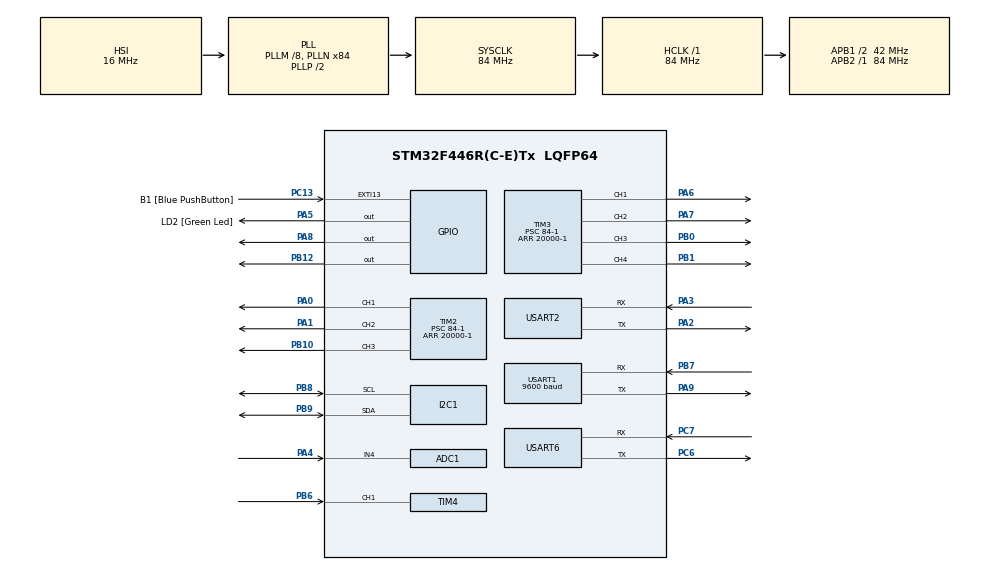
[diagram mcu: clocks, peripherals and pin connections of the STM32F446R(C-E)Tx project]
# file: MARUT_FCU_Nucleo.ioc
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ADC1.Channel-0\#ChannelRegularConversion=ADC_CHANNEL_4
ADC1.NbrOfConversionFlag=1
ADC1.Rank-0\#ChannelRegularConversion=1
ADC1.SamplingTime-0\#ChannelRegularConversion=ADC_SAMPLETIME_3CYCLES
ADC1.master=1
FREERTOS.BinarySemaphores01=uart_sem,Dynamic,NULL,Available
FREERTOS.Tasks01=defaultTask,24,1024,servo_mapping,Default,NULL,Static,defaultTaskBuffer,defaultTaskControlBlock;telem_task,24,1024,telemetry_task,Default,NULL,Static,myTask02Buffer,myTask02ControlBlock;rc_input,24,1024,arm_disarm,Default,NULL,Dynamic,NULL,NULL
FREERTOS.configUSE_STATS_FORMATTING_FUNCTIONS=1
Mcu.Family=STM32F4
Mcu.Name=STM32F446R(C-E)Tx
Mcu.Package=LQFP64
NVIC.ADC_IRQn=true\:5\:0\:false\:false\:true\:true\:true\:true\:true
NVIC.PriorityGroup=NVIC_PRIORITYGROUP_4
NVIC.TIM4_IRQn=true\:5\:0\:false\:false\:true\:true\:true\:true\:true
NVIC.TIM8_TRG_COM_TIM14_IRQn=true\:15\:0\:false\:false\:true\:false\:false\:true\:true
NVIC.TimeBase=TIM8_TRG_COM_TIM14_IRQn
NVIC.TimeBaseIP=TIM14
NVIC.USART1_IRQn=true\:5\:0\:false\:false\:true\:true\:true\:true\:true
PA0-WKUP.Signal=S_TIM2_CH1_ETR
PA1.Signal=S_TIM2_CH2
PA13.GPIO_Label=TMS
PA13.Mode=Serial_Wire
PA13.Signal=SYS_JTMS-SWDIO
PA14.GPIO_Label=TCK
PA14.Mode=Serial_Wire
PA14.Signal=SYS_JTCK-SWCLK
PA2.Mode=Asynchronous
PA2.Signal=USART2_TX
PA3.Mode=Asynchronous
PA3.Signal=USART2_RX
PA4.Signal=ADCx_IN4
PA5.GPIO_Label=LD2 [Green Led]
PA5.Signal=GPIO_Output
PA6.Signal=S_TIM3_CH1
PA7.Signal=S_TIM3_CH2
PA8.Signal=GPIO_Output
PA9.Mode=Asynchronous
PA9.Signal=USART1_TX
PB0.Signal=S_TIM3_CH3
PB1.Signal=S_TIM3_CH4
PB10.Signal=S_TIM2_CH3
PB12.Signal=GPIO_Output
PB3.GPIO_Label=SWO
PB3.Signal=SYS_JTDO-SWO
PB6.GPIO_PuPd=GPIO_PULLDOWN
PB6.GPIO_Speed=GPIO_SPEED_FREQ_HIGH
PB6.Signal=S_TIM4_CH1
PB7.Mode=Asynchronous
PB7.Signal=USART1_RX
PB8.Mode=I2C
PB8.Signal=I2C1_SCL
PB9.Mode=I2C
PB9.Signal=I2C1_SDA
PC13.GPIO_Label=B1 [Blue PushButton]
PC13.GPIO_ModeDefaultEXTI=GPIO_MODE_IT_FALLING
PC13.Signal=GPXTI13
PC14-OSC32_IN.Mode=LSE-External-Oscillator
PC14-OSC32_IN.Signal=RCC_OSC32_IN
PC15-OSC32_OUT.Mode=LSE-External-Oscillator
PC15-OSC32_OUT.Signal=RCC_OSC32_OUT
PC6.Mode=Asynchronous
PC6.Signal=USART6_TX
PC7.Mode=Asynchronous
PC7.Signal=USART6_RX
PH0-OSC_IN.Mode=HSE-External-Oscillator
PH0-OSC_IN.Signal=RCC_OSC_IN
PH1-OSC_OUT.Mode=HSE-External-Oscillator
PH1-OSC_OUT.Signal=RCC_OSC_OUT
ProjectManager.HeapSize=0x200
ProjectManager.StackSize=0x400
ProjectManager.TargetToolchain=STM32CubeIDE
RCC.48MHZClocksFreq_Value=84000000
RCC.AHBFreq_Value=84000000
RCC.APB1CLKDivider=RCC_HCLK_DIV2
RCC.APB1Freq_Value=42000000
RCC.APB1TimFreq_Value=84000000
RCC.APB2Freq_Value=84000000
RCC.APB2TimFreq_Value=84000000
RCC.CortexFreq_Value=84000000
RCC.FLatency-AdvancedSettings=FLASH_LATENCY_2
RCC.HCLKFreq_Value=84000000
RCC.HSE_VALUE=8000000
RCC.HSI_VALUE=16000000
RCC.PLLM=8
RCC.PLLN=84
RCC.SYSCLKFreq_VALUE=84000000
RCC.SYSCLKSource=RCC_SYSCLKSOURCE_PLLCLK
RCC.USBFreq_Value=84000000
RCC.VCOOutputFreq_Value=168000000
SH.ADCx_IN4.0=ADC1_IN4,IN4
SH.S_TIM2_CH1_ETR.0=TIM2_CH1,PWM Generation1 CH1
SH.S_TIM2_CH2.0=TIM2_CH2,PWM Generation2 CH2
SH.S_TIM2_CH3.0=TIM2_CH3,PWM Generation3 CH3
SH.S_TIM3_CH1.0=TIM3_CH1,PWM Generation1 CH1
SH.S_TIM3_CH2.0=TIM3_CH2,PWM Generation2 CH2
SH.S_TIM3_CH3.0=TIM3_CH3,PWM Generation3 CH3
SH.S_TIM3_CH4.0=TIM3_CH4,PWM Generation4 CH4
SH.S_TIM4_CH1.0=TIM4_CH1,Input_Capture1_from_TI1
TIM2.Channel-PWM\ Generation1\ CH1=TIM_CHANNEL_1
TIM2.Channel-PWM\ Generation2\ CH2=TIM_CHANNEL_2
TIM2.Channel-PWM\ Generation3\ CH3=TIM_CHANNEL_3
TIM2.Channel-PWM\ Generation4\ No\ Output=TIM_CHANNEL_4
TIM2.Period=20000-1
TIM2.Prescaler=84-1
TIM3.Channel-PWM\ Generation1\ CH1=TIM_CHANNEL_1
TIM3.Channel-PWM\ Generation2\ CH2=TIM_CHANNEL_2
TIM3.Channel-PWM\ Generation3\ CH3=TIM_CHANNEL_3
TIM3.Channel-PWM\ Generation4\ CH4=TIM_CHANNEL_4
TIM3.Period=20000-1
TIM3.Prescaler=84-1
TIM4.Channel-Input_Capture1_from_TI1=TIM_CHANNEL_1
TIM4.ICFilter_CH1=5
TIM4.Prescaler=84-1
USART1.BaudRate=9600
USART1.VirtualMode=VM_ASYNC
USART2.VirtualMode=VM_ASYNC
USART6.VirtualMode=VM_ASYNC
VP_ADC1_TempSens_Input.Mode=IN-TempSens
VP_FREERTOS_VS_CMSIS_V2.Mode=CMSIS_V2
VP_SYS_VS_tim14.Mode=TIM14
VP_TIM2_VS_ClockSourceINT.Mode=Internal
VP_TIM2_VS_no_output4.Mode=PWM Generation4 No Output
VP_TIM3_VS_ClockSourceINT.Mode=Internal
VP_TIM4_VS_ClockSourceINT.Mode=Internal
board=NUCLEO-F446RE

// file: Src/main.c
/* USER CODE BEGIN Header */
/**
 ******************************************************************************
 * @file           : main.c
 * @brief          : Main program body
 ******************************************************************************
 * @attention
 *
 * Copyright (c) 2025 STMicroelectronics.
 * All rights reserved.
 *
 * This software is licensed under terms that can be found in the LICENSE file
 * in the root directory of this software component.
 * If no LICENSE file comes with this software, it is provided AS-IS.
 *
 ******************************************************************************
 */
/* USER CODE END Header */
#include "main.h"
#include "cmsis_os.h"

/* USER CODE BEGIN Includes */
#include "mpu6050_port.h"
#include "qmcr5883l.h"
#include "bmp280.h"
#include <stdio.h>
#include <string.h>
#include <math.h>
#include "gps_parser.h"
#include "mav_messages.h"

/* USER CODE END Includes */

typedef StaticTask_t osStaticThreadDef_t;

/* USER CODE BEGIN PD */
#define PUTCHAR_PROTOTYPE int __io_putchar(int ch)

/* USER CODE END PD */

ADC_HandleTypeDef hadc1;

I2C_HandleTypeDef hi2c1;

TIM_HandleTypeDef htim2;
TIM_HandleTypeDef htim3;
TIM_HandleTypeDef htim4;

UART_HandleTypeDef huart1;
UART_HandleTypeDef huart2;
UART_HandleTypeDef huart6;

/* Definitions for defaultTask */
osThreadId_t defaultTaskHandle;
uint32_t defaultTaskBuffer[ 1024 ];
osStaticThreadDef_t defaultTaskControlBlock;
const osThreadAttr_t defaultTask_attributes = {
  .name = "defaultTask",
  .cb_mem = &defaultTaskControlBlock,
  .cb_size = sizeof(defaultTaskControlBlock),
  .stack_mem = &defaultTaskBuffer[0],
  .stack_size = sizeof(defaultTaskBuffer),
  .priority = (osPriority_t) osPriorityNormal,
};
/* Definitions for telem_task */
osThreadId_t telem_taskHandle;
uint32_t myTask02Buffer[ 1024 ];
osStaticThreadDef_t myTask02ControlBlock;
const osThreadAttr_t telem_task_attributes = {
  .name = "telem_task",
  .cb_mem = &myTask02ControlBlock,
  .cb_size = sizeof(myTask02ControlBlock),
  .stack_mem = &myTask02Buffer[0],
  .stack_size = sizeof(myTask02Buffer),
  .priority = (osPriority_t) osPriorityNormal,
};
/* Definitions for rc_input */
osThreadId_t rc_inputHandle;
const osThreadAttr_t rc_input_attributes = {
  .name = "rc_input",
  .stack_size = 1024 * 4,
  .priority = (osPriority_t) osPriorityNormal,
};
/* Definitions for uart_sem */
osSemaphoreId_t uart_semHandle;
const osSemaphoreAttr_t uart_sem_attributes = {
  .name = "uart_sem"
};
/* USER CODE BEGIN PV */

extern uint8_t rxBuffer[128];
extern uint8_t rxIndex;
extern uint8_t rxData;
extern float nmeaLong;
extern float nmeaLat;
extern float utcTime;
extern char posStatus;
extern char northsouth;
extern char eastwest;
extern float decimalLong;
extern float decimalLat;
extern float gpsSpeed;
extern float course;
extern int numSats;
extern float mslAlt;
extern int gpsQuality;
extern int has_fix;
extern int fix_type;
extern float hdop;
extern uint32_t last_led_toggle;
extern char unit;
extern uint32_t gps_send_counter;

volatile uint16_t ppm_live_channels[8];
volatile uint16_t ppm_ready_channels[8];
uint16_t display_channels[8];
volatile uint8_t pulse = 1;

volatile uint8_t ppm_new_data_flag = 0;
volatile uint32_t last_capture = 0;

char msg[100];

volatile uint32_t ICValue_1 = 0;
volatile uint32_t frequency_1 = 0;
volatile float duty_1 = 0;

volatile uint32_t ICValue_2 = 0;
volatile uint32_t frequency_2 = 0;
volatile float duty_2 = 0;

volatile uint32_t ICValue_3 = 0;
volatile uint32_t frequency_3 = 0;
volatile float duty_3 = 0;

volatile uint32_t ICValue_4 = 0;
volatile uint32_t frequency_4 = 0;
volatile float duty_4 = 0;

volatile uint32_t ICValue_5 = 0;
volatile uint32_t frequency_5 = 0;
volatile float duty_5 = 0;

volatile uint32_t ICValue_6 = 0;
volatile uint32_t frequency_6 = 0;
volatile float duty_6 = 0;

volatile float pulse_width_us_1;
volatile float pulse_width_us_2;
volatile float pulse_width_us_3;
volatile float pulse_width_us_4;
volatile float pulse_width_us_5;
volatile float pulse_width_us_6;

volatile float batt_value = 0;
volatile float adc_value = 0;
volatile float internal_temp = 0;
volatile float v_out = 0;

int disarm_flag;
int arm_flag;

/* USER CODE END PV */

void SystemClock_Config(void);
static void MX_GPIO_Init(void);
static void MX_I2C1_Init(void);
static void MX_TIM4_Init(void);
static void MX_USART1_UART_Init(void);
static void MX_USART6_UART_Init(void);
static void MX_TIM2_Init(void);
static void MX_TIM3_Init(void);
static void MX_USART2_UART_Init(void);
static void MX_ADC1_Init(void);
void servo_mapping(void *argument);
void telemetry_task(void *argument);
void arm_disarm(void *argument);

/* USER CODE BEGIN 0 */

PUTCHAR_PROTOTYPE {
	/* Place your implementation of fputc here */
	/* e.g. write a character to the USART1 and Loop until the end of transmission */
	HAL_UART_Transmit(&huart2, (uint8_t*) &ch, 1, 0xFFFF);

	return ch;
}

void HAL_TIM_IC_CaptureCallback(TIM_HandleTypeDef *htim) {

	if (htim->Instance == TIM4 && htim->Channel == HAL_TIM_ACTIVE_CHANNEL_1) {
		uint32_t current_capture = HAL_TIM_ReadCapturedValue(htim,
		TIM_CHANNEL_1);
		uint16_t pulse_width;

		if (current_capture > last_capture) {
			pulse_width = current_capture - last_capture;
		} else {
			pulse_width = (65535 - last_capture) + current_capture;
		}

		if (pulse_width > 3000) {

			memcpy((void*) ppm_ready_channels, (void*) ppm_live_channels,
					sizeof(ppm_live_channels));
			ppm_new_data_flag = 1;

			pulse = 1;
		}

		else {
			switch (pulse) {
			case 1:
				ppm_live_channels[0] = pulse_width;
				pulse++;
				break;
			case 2:
				ppm_live_channels[1] = pulse_width;
				pulse++;
				break;
			case 3:
				ppm_live_channels[2] = pulse_width;
				pulse++;
				break;
			case 4:
				ppm_live_channels[3] = pulse_width;
				pulse++;
				break;
			case 5:
				ppm_live_channels[4] = pulse_width;
				pulse++;
				break;
			case 6:
				ppm_live_channels[5] = pulse_width;
				pulse++;
				break;
			default:

				pulse++;
				break;
			}
		}
		last_capture = current_capture;
	}

}

void HAL_UART_RxCpltCallback(UART_HandleTypeDef *huart) {
	if (huart->Instance == USART1) {

		if (rxData != '\n' && rxIndex < sizeof(rxBuffer)) {
			rxBuffer[rxIndex++] = rxData;
		} else {
			if (gpsValidate((char*) rxBuffer))
				gpsParse((char*) rxBuffer);
			rxIndex = 0;
			memset(rxBuffer, 0, sizeof(rxBuffer));
		}
		HAL_GPIO_TogglePin(GPIOA, GPIO_PIN_5);
		HAL_UART_Receive_IT(&huart1, &rxData, 1);

	}
}

void HAL_ADC_ConvCpltCallback(ADC_HandleTypeDef *hadc) {
	adc_value = HAL_ADC_GetValue(&hadc1);
	v_out = (adc_value * 3.3f) / 4096;
	batt_value = v_out / (7500.0f / (30000.0f + 7500.0f));
	//printf("Itr triggered\n");
	HAL_ADC_Start_IT(&hadc1);

}

uint32_t mapRCtoMotor(uint16_t rcValue) {
	if (rcValue > 2000) {
		rcValue = 2000;
	}
	if (rcValue < 1000) {
		rcValue = 1000;
	}
	// used simple ratio vala logic (y-0/63000-0 = x-1000 / 2000-1000)
	uint32_t motorValue = (uint32_t) (rcValue - 1000) * 180 / 1000;
	return motorValue;
}

void setServoAngle(uint32_t angle, int channel) {
	if (angle > 180)
		angle = 180;

	uint32_t minPulseWidth = 500;   // 0.5 ms
	uint32_t maxPulseWidth = 2500;  // 2.5 ms
	uint32_t pulse = ((angle * (maxPulseWidth - minPulseWidth)) / 180)
			+ minPulseWidth;

	if (channel == 1) {
		__HAL_TIM_SET_COMPARE(&htim2, TIM_CHANNEL_1, pulse);
	} else if (channel == 2) {
		__HAL_TIM_SET_COMPARE(&htim2, TIM_CHANNEL_2, pulse);
	} else if (channel == 3) {
		__HAL_TIM_SET_COMPARE(&htim2, TIM_CHANNEL_3, pulse);
	} else if (channel == 4) {
		__HAL_TIM_SET_COMPARE(&htim3, TIM_CHANNEL_1, pulse);
	} else if (channel == 5) {
		__HAL_TIM_SET_COMPARE(&htim3, TIM_CHANNEL_2, pulse);
	} else if (channel == 6) {
		__HAL_TIM_SET_COMPARE(&htim3, TIM_CHANNEL_3, pulse);
	} else if (channel == 7) {
		__HAL_TIM_SET_COMPARE(&htim3, TIM_CHANNEL_4, pulse);
	}

}

/* USER CODE END 0 */

int main(void)
{

  /* MCU Configuration--------------------------------------------------------*/

  /* Reset of all peripherals, Initializes the Flash interface and the Systick. */
  HAL_Init();

  /* Configure the system clock */
  SystemClock_Config();

  /* Initialize all configured peripherals */
  MX_GPIO_Init();
  MX_I2C1_Init();
  MX_TIM4_Init();
  MX_USART1_UART_Init();
  MX_USART6_UART_Init();
  MX_TIM2_Init();
  MX_TIM3_Init();
  MX_USART2_UART_Init();
  MX_ADC1_Init();

  /* Init scheduler */
  osKernelInitialize();

  /* Create the semaphores(s) */
  /* creation of uart_sem */
  uart_semHandle = osSemaphoreNew(1, 1, &uart_sem_attributes);

  /* Create the thread(s) */
  /* creation of defaultTask */
  defaultTaskHandle = osThreadNew(servo_mapping, NULL, &defaultTask_attributes);

  /* creation of telem_task */
  telem_taskHandle = osThreadNew(telemetry_task, NULL, &telem_task_attributes);

  /* creation of rc_input */
  rc_inputHandle = osThreadNew(arm_disarm, NULL, &rc_input_attributes);

  /* Start scheduler */
  osKernelStart();

  /* We should never get here as control is now taken by the scheduler */

  /* Infinite loop */
	while (1) {

	}
}

void SystemClock_Config(void)
{
  RCC_OscInitTypeDef RCC_OscInitStruct = {0};
  RCC_ClkInitTypeDef RCC_ClkInitStruct = {0};

  /** Configure the main internal regulator output voltage
  */
  __HAL_RCC_PWR_CLK_ENABLE();
  __HAL_PWR_VOLTAGESCALING_CONFIG(PWR_REGULATOR_VOLTAGE_SCALE3);

  /** Initializes the RCC Oscillators according to the specified parameters
  * in the RCC_OscInitTypeDef structure.
  */
  RCC_OscInitStruct.OscillatorType = RCC_OSCILLATORTYPE_HSI;
  RCC_OscInitStruct.HSIState = RCC_HSI_ON;
  RCC_OscInitStruct.HSICalibrationValue = RCC_HSICALIBRATION_DEFAULT;
  RCC_OscInitStruct.PLL.PLLState = RCC_PLL_ON;
  RCC_OscInitStruct.PLL.PLLSource = RCC_PLLSOURCE_HSI;
  RCC_OscInitStruct.PLL.PLLM = 8;
  RCC_OscInitStruct.PLL.PLLN = 84;
  RCC_OscInitStruct.PLL.PLLP = RCC_PLLP_DIV2;
  RCC_OscInitStruct.PLL.PLLQ = 2;
  RCC_OscInitStruct.PLL.PLLR = 2;
  if (HAL_RCC_OscConfig(&RCC_OscInitStruct) != HAL_OK)
  {
    Error_Handler();
  }

  /** Initializes the CPU, AHB and APB buses clocks
  */
  RCC_ClkInitStruct.ClockType = RCC_CLOCKTYPE_HCLK|RCC_CLOCKTYPE_SYSCLK
                              |RCC_CLOCKTYPE_PCLK1|RCC_CLOCKTYPE_PCLK2;
  RCC_ClkInitStruct.SYSCLKSource = RCC_SYSCLKSOURCE_PLLCLK;
  RCC_ClkInitStruct.AHBCLKDivider = RCC_SYSCLK_DIV1;
  RCC_ClkInitStruct.APB1CLKDivider = RCC_HCLK_DIV2;
  RCC_ClkInitStruct.APB2CLKDivider = RCC_HCLK_DIV1;

  if (HAL_RCC_ClockConfig(&RCC_ClkInitStruct, FLASH_LATENCY_2) != HAL_OK)
  {
    Error_Handler();
  }
}

static void MX_ADC1_Init(void)
{

  ADC_ChannelConfTypeDef sConfig = {0};

  /** Configure the global features of the ADC (Clock, Resolution, Data Alignment and number of conversion)
  */
  hadc1.Instance = ADC1;
  hadc1.Init.ClockPrescaler = ADC_CLOCK_SYNC_PCLK_DIV4;
  hadc1.Init.Resolution = ADC_RESOLUTION_12B;
  hadc1.Init.ScanConvMode = DISABLE;
  hadc1.Init.ContinuousConvMode = DISABLE;
  hadc1.Init.DiscontinuousConvMode = DISABLE;
  hadc1.Init.ExternalTrigConvEdge = ADC_EXTERNALTRIGCONVEDGE_NONE;
  hadc1.Init.ExternalTrigConv = ADC_SOFTWARE_START;
  hadc1.Init.DataAlign = ADC_DATAALIGN_RIGHT;
  hadc1.Init.NbrOfConversion = 1;
  hadc1.Init.DMAContinuousRequests = DISABLE;
  hadc1.Init.EOCSelection = ADC_EOC_SINGLE_CONV;
  if (HAL_ADC_Init(&hadc1) != HAL_OK)
  {
    Error_Handler();
  }

  /** Configure for the selected ADC regular channel its corresponding rank in the sequencer and its sample time.
  */
  sConfig.Channel = ADC_CHANNEL_4;
  sConfig.Rank = 1;
  sConfig.SamplingTime = ADC_SAMPLETIME_3CYCLES;
  if (HAL_ADC_ConfigChannel(&hadc1, &sConfig) != HAL_OK)
  {
    Error_Handler();
  }

}

static void MX_I2C1_Init(void)
{

  hi2c1.Instance = I2C1;
  hi2c1.Init.ClockSpeed = 100000;
  hi2c1.Init.DutyCycle = I2C_DUTYCYCLE_2;
  hi2c1.Init.OwnAddress1 = 0;
  hi2c1.Init.AddressingMode = I2C_ADDRESSINGMODE_7BIT;
  hi2c1.Init.DualAddressMode = I2C_DUALADDRESS_DISABLE;
  hi2c1.Init.OwnAddress2 = 0;
  hi2c1.Init.GeneralCallMode = I2C_GENERALCALL_DISABLE;
  hi2c1.Init.NoStretchMode = I2C_NOSTRETCH_DISABLE;
  if (HAL_I2C_Init(&hi2c1) != HAL_OK)
  {
    Error_Handler();
  }

}

static void MX_TIM2_Init(void)
{

  TIM_ClockConfigTypeDef sClockSourceConfig = {0};
  TIM_MasterConfigTypeDef sMasterConfig = {0};
  TIM_OC_InitTypeDef sConfigOC = {0};

  htim2.Instance = TIM2;
  htim2.Init.Prescaler = 84-1;
  htim2.Init.CounterMode = TIM_COUNTERMODE_UP;
  htim2.Init.Period = 20000-1;
  htim2.Init.ClockDivision = TIM_CLOCKDIVISION_DIV1;
  htim2.Init.AutoReloadPreload = TIM_AUTORELOAD_PRELOAD_DISABLE;
  if (HAL_TIM_Base_Init(&htim2) != HAL_OK)
  {
    Error_Handler();
  }
  sClockSourceConfig.ClockSource = TIM_CLOCKSOURCE_INTERNAL;
  if (HAL_TIM_ConfigClockSource(&htim2, &sClockSourceConfig) != HAL_OK)
  {
    Error_Handler();
  }
  if (HAL_TIM_PWM_Init(&htim2) != HAL_OK)
  {
    Error_Handler();
  }
  sMasterConfig.MasterOutputTrigger = TIM_TRGO_RESET;
  sMasterConfig.MasterSlaveMode = TIM_MASTERSLAVEMODE_DISABLE;
  if (HAL_TIMEx_MasterConfigSynchronization(&htim2, &sMasterConfig) != HAL_OK)
  {
    Error_Handler();
  }
  sConfigOC.OCMode = TIM_OCMODE_PWM1;
  sConfigOC.Pulse = 0;
  sConfigOC.OCPolarity = TIM_OCPOLARITY_HIGH;
  sConfigOC.OCFastMode = TIM_OCFAST_DISABLE;
  if (HAL_TIM_PWM_ConfigChannel(&htim2, &sConfigOC, TIM_CHANNEL_1) != HAL_OK)
  {
    Error_Handler();
  }
  if (HAL_TIM_PWM_ConfigChannel(&htim2, &sConfigOC, TIM_CHANNEL_2) != HAL_OK)
  {
    Error_Handler();
  }
  if (HAL_TIM_PWM_ConfigChannel(&htim2, &sConfigOC, TIM_CHANNEL_3) != HAL_OK)
  {
    Error_Handler();
  }
  if (HAL_TIM_PWM_ConfigChannel(&htim2, &sConfigOC, TIM_CHANNEL_4) != HAL_OK)
  {
    Error_Handler();
  }
  HAL_TIM_MspPostInit(&htim2);

}

static void MX_TIM3_Init(void)
{

  TIM_ClockConfigTypeDef sClockSourceConfig = {0};
  TIM_MasterConfigTypeDef sMasterConfig = {0};
  TIM_OC_InitTypeDef sConfigOC = {0};

  htim3.Instance = TIM3;
  htim3.Init.Prescaler = 84-1;
  htim3.Init.CounterMode = TIM_COUNTERMODE_UP;
  htim3.Init.Period = 20000-1;
  htim3.Init.ClockDivision = TIM_CLOCKDIVISION_DIV1;
  htim3.Init.AutoReloadPreload = TIM_AUTORELOAD_PRELOAD_DISABLE;
  if (HAL_TIM_Base_Init(&htim3) != HAL_OK)
  {
    Error_Handler();
  }
  sClockSourceConfig.ClockSource = TIM_CLOCKSOURCE_INTERNAL;
  if (HAL_TIM_ConfigClockSource(&htim3, &sClockSourceConfig) != HAL_OK)
  {
    Error_Handler();
  }
  if (HAL_TIM_PWM_Init(&htim3) != HAL_OK)
  {
    Error_Handler();
  }
  sMasterConfig.MasterOutputTrigger = TIM_TRGO_RESET;
  sMasterConfig.MasterSlaveMode = TIM_MASTERSLAVEMODE_DISABLE;
  if (HAL_TIMEx_MasterConfigSynchronization(&htim3, &sMasterConfig) != HAL_OK)
  {
    Error_Handler();
  }
  sConfigOC.OCMode = TIM_OCMODE_PWM1;
  sConfigOC.Pulse = 0;
  sConfigOC.OCPolarity = TIM_OCPOLARITY_HIGH;
  sConfigOC.OCFastMode = TIM_OCFAST_DISABLE;
  if (HAL_TIM_PWM_ConfigChannel(&htim3, &sConfigOC, TIM_CHANNEL_1) != HAL_OK)
  {
    Error_Handler();
  }
  if (HAL_TIM_PWM_ConfigChannel(&htim3, &sConfigOC, TIM_CHANNEL_2) != HAL_OK)
  {
    Error_Handler();
  }
  if (HAL_TIM_PWM_ConfigChannel(&htim3, &sConfigOC, TIM_CHANNEL_3) != HAL_OK)
  {
    Error_Handler();
  }
  if (HAL_TIM_PWM_ConfigChannel(&htim3, &sConfigOC, TIM_CHANNEL_4) != HAL_OK)
  {
    Error_Handler();
  }
  HAL_TIM_MspPostInit(&htim3);

}

static void MX_TIM4_Init(void)
{

  TIM_ClockConfigTypeDef sClockSourceConfig = {0};
  TIM_MasterConfigTypeDef sMasterConfig = {0};
  TIM_IC_InitTypeDef sConfigIC = {0};

  htim4.Instance = TIM4;
  htim4.Init.Prescaler = 84-1;
  htim4.Init.CounterMode = TIM_COUNTERMODE_UP;
  htim4.Init.Period = 65535;
  htim4.Init.ClockDivision = TIM_CLOCKDIVISION_DIV1;
  htim4.Init.AutoReloadPreload = TIM_AUTORELOAD_PRELOAD_DISABLE;
  if (HAL_TIM_Base_Init(&htim4) != HAL_OK)
  {
    Error_Handler();
  }
  sClockSourceConfig.ClockSource = TIM_CLOCKSOURCE_INTERNAL;
  if (HAL_TIM_ConfigClockSource(&htim4, &sClockSourceConfig) != HAL_OK)
  {
    Error_Handler();
  }
  if (HAL_TIM_IC_Init(&htim4) != HAL_OK)
  {
    Error_Handler();
  }
  sMasterConfig.MasterOutputTrigger = TIM_TRGO_RESET;
  sMasterConfig.MasterSlaveMode = TIM_MASTERSLAVEMODE_DISABLE;
  if (HAL_TIMEx_MasterConfigSynchronization(&htim4, &sMasterConfig) != HAL_OK)
  {
    Error_Handler();
  }
  sConfigIC.ICPolarity = TIM_INPUTCHANNELPOLARITY_RISING;
  sConfigIC.ICSelection = TIM_ICSELECTION_DIRECTTI;
  sConfigIC.ICPrescaler = TIM_ICPSC_DIV1;
  sConfigIC.ICFilter = 5;
  if (HAL_TIM_IC_ConfigChannel(&htim4, &sConfigIC, TIM_CHANNEL_1) != HAL_OK)
  {
    Error_Handler();
  }

}

static void MX_USART1_UART_Init(void)
{

  huart1.Instance = USART1;
  huart1.Init.BaudRate = 9600;
  huart1.Init.WordLength = UART_WORDLENGTH_8B;
  huart1.Init.StopBits = UART_STOPBITS_1;
  huart1.Init.Parity = UART_PARITY_NONE;
  huart1.Init.Mode = UART_MODE_TX_RX;
  huart1.Init.HwFlowCtl = UART_HWCONTROL_NONE;
  huart1.Init.OverSampling = UART_OVERSAMPLING_16;
  if (HAL_UART_Init(&huart1) != HAL_OK)
  {
    Error_Handler();
  }

}

static void MX_USART2_UART_Init(void)
{

  huart2.Instance = USART2;
  huart2.Init.BaudRate = 115200;
  huart2.Init.WordLength = UART_WORDLENGTH_8B;
  huart2.Init.StopBits = UART_STOPBITS_1;
  huart2.Init.Parity = UART_PARITY_NONE;
  huart2.Init.Mode = UART_MODE_TX_RX;
  huart2.Init.HwFlowCtl = UART_HWCONTROL_NONE;
  huart2.Init.OverSampling = UART_OVERSAMPLING_16;
  if (HAL_UART_Init(&huart2) != HAL_OK)
  {
    Error_Handler();
  }

}

static void MX_USART6_UART_Init(void)
{

  huart6.Instance = USART6;
  huart6.Init.BaudRate = 115200;
  huart6.Init.WordLength = UART_WORDLENGTH_8B;
  huart6.Init.StopBits = UART_STOPBITS_1;
  huart6.Init.Parity = UART_PARITY_NONE;
  huart6.Init.Mode = UART_MODE_TX_RX;
  huart6.Init.HwFlowCtl = UART_HWCONTROL_NONE;
  huart6.Init.OverSampling = UART_OVERSAMPLING_16;
  if (HAL_UART_Init(&huart6) != HAL_OK)
  {
    Error_Handler();
  }

}

static void MX_GPIO_Init(void)
{
  GPIO_InitTypeDef GPIO_InitStruct = {0};

  /* GPIO Ports Clock Enable */
  __HAL_RCC_GPIOC_CLK_ENABLE();
  __HAL_RCC_GPIOH_CLK_ENABLE();
  __HAL_RCC_GPIOA_CLK_ENABLE();
  __HAL_RCC_GPIOB_CLK_ENABLE();

  /*Configure GPIO pin Output Level */
  HAL_GPIO_WritePin(GPIOA, LD2_Pin|GPIO_PIN_8, GPIO_PIN_RESET);

  /*Configure GPIO pin Output Level */
  HAL_GPIO_WritePin(GPIOB, GPIO_PIN_12, GPIO_PIN_RESET);

  /*Configure GPIO pin : B1_Pin */
  GPIO_InitStruct.Pin = B1_Pin;
  GPIO_InitStruct.Mode = GPIO_MODE_IT_FALLING;
  GPIO_InitStruct.Pull = GPIO_NOPULL;
  HAL_GPIO_Init(B1_GPIO_Port, &GPIO_InitStruct);

  /*Configure GPIO pins : LD2_Pin PA8 */
  GPIO_InitStruct.Pin = LD2_Pin|GPIO_PIN_8;
  GPIO_InitStruct.Mode = GPIO_MODE_OUTPUT_PP;
  GPIO_InitStruct.Pull = GPIO_NOPULL;
  GPIO_InitStruct.Speed = GPIO_SPEED_FREQ_LOW;
  HAL_GPIO_Init(GPIOA, &GPIO_InitStruct);

  /*Configure GPIO pin : PB12 */
  GPIO_InitStruct.Pin = GPIO_PIN_12;
  GPIO_InitStruct.Mode = GPIO_MODE_OUTPUT_PP;
  GPIO_InitStruct.Pull = GPIO_NOPULL;
  GPIO_InitStruct.Speed = GPIO_SPEED_FREQ_LOW;
  HAL_GPIO_Init(GPIOB, &GPIO_InitStruct);

}

void servo_mapping(void *argument)
{
  /* USER CODE BEGIN 5 */

	HAL_TIM_PWM_Start(&htim2, TIM_CHANNEL_1); //pwm out tim2
	HAL_TIM_PWM_Start(&htim2, TIM_CHANNEL_2);
	HAL_TIM_PWM_Start(&htim2, TIM_CHANNEL_3);

	HAL_TIM_PWM_Start(&htim3, TIM_CHANNEL_1); //pwm out tim3
	HAL_TIM_PWM_Start(&htim3, TIM_CHANNEL_2);
	HAL_TIM_PWM_Start(&htim3, TIM_CHANNEL_3);
	HAL_TIM_PWM_Start(&htim3, TIM_CHANNEL_4);

	/* Infinite loop */
	for (;;) {

		if (ppm_new_data_flag) {

			memcpy(display_channels, (void*) ppm_ready_channels,
					sizeof(ppm_ready_channels));
			ppm_new_data_flag = 0;

			if (arm_flag == 1 && disarm_flag == 0)
			{
				//HAL_UART_Transmit(&huart2, (uint8_t*) msg, strlen(msg),
				//	HAL_MAX_DELAY);

				//for debug
				/*printf(
				 "Normalized: 0: %lu, Normal: %u | 1: %lu, Normal: %u | 2: %lu, Normal: %u | 3: %lu, Normal: %u | 4: %lu, Normal: %u | 5: %lu, Normal: %u\n",
				 mapRCtoMotor(display_channels[0]), display_channels[0],
				 mapRCtoMotor(display_channels[1]), display_channels[1],
				 mapRCtoMotor(display_channels[2]), display_channels[2],
				 mapRCtoMotor(display_channels[3]), display_channels[3],
				 mapRCtoMotor(display_channels[4]), display_channels[4],
				 mapRCtoMotor(display_channels[5]), display_channels[5]);
				 */

				setServoAngle(mapRCtoMotor(display_channels[0]), 1);
				setServoAngle(mapRCtoMotor(display_channels[1]), 2);
				setServoAngle(mapRCtoMotor(display_channels[2]), 3);
				setServoAngle(mapRCtoMotor(display_channels[3]), 4);
				setServoAngle(mapRCtoMotor(display_channels[4]), 5);
				setServoAngle(mapRCtoMotor(display_channels[5]), 6);

			}
			else if (arm_flag == 0 && disarm_flag == 1)
					{
						//HAL_UART_Transmit(&huart2, (uint8_t*) msg, strlen(msg),
						//	HAL_MAX_DELAY);

						//for debug
						/*printf(
						 "Normalized: 0: %lu, Normal: %u | 1: %lu, Normal: %u | 2: %lu, Normal: %u | 3: %lu, Normal: %u | 4: %lu, Normal: %u | 5: %lu, Normal: %u\n",
						 mapRCtoMotor(display_channels[0]), display_channels[0],
						 mapRCtoMotor(display_channels[1]), display_channels[1],
						 mapRCtoMotor(display_channels[2]), display_channels[2],
						 mapRCtoMotor(display_channels[3]), display_channels[3],
						 mapRCtoMotor(display_channels[4]), display_channels[4],
						 mapRCtoMotor(display_channels[5]), display_channels[5]);
						 */

						setServoAngle(0, 1);
						setServoAngle(0, 2);
						setServoAngle(0, 3);
						setServoAngle(0, 4);
						setServoAngle(0, 5);
						setServoAngle(0, 6);

					}

		}

	}
  /* USER CODE END 5 */
}

void telemetry_task(void *argument)
{
  /* USER CODE BEGIN telemetry_task */
	/* Infinite loop */
	HAL_UART_Receive_IT(&huart1, &rxData, 1);
	mpu_init();
	printf("Init ok mpu lol/n");
	qmc_init();
	printf("Init ok qmc/n");
	bmp_i2c_setup();
	printf("Init ok bmp/n");

	//HAL_ADC_Start_IT(&hadc1);

	for (;;) {
		osDelay(20);

		if (arm_flag == 1 && disarm_flag == 0) {

			send_heartbeat_armed();
			send_attitude();
			send_heartbeat_armed();
			send_global_position_int();
			send_heartbeat_armed();
			send_battery_info();
			HAL_GPIO_WritePin(GPIOA, GPIO_PIN_8, 1);

			//osSemaphoreRelease(arm_semHandle);
		} else if (arm_flag == 0 && disarm_flag == 1) {

			send_heartbeat_disarmed();
			send_attitude();
			send_heartbeat_disarmed();
			send_global_position_int();
			send_heartbeat_disarmed();
			send_battery_info();
			HAL_GPIO_WritePin(GPIOA, GPIO_PIN_8, 0);

		}
	}

  /* USER CODE END telemetry_task */
}

void arm_disarm(void *argument)
{
  /* USER CODE BEGIN arm_disarm */
		HAL_TIM_PWM_Start_IT(&htim4, TIM_CHANNEL_1);
		/* Infinite loop */
		for (;;) {
			/*
			printf(

			 "Normalized: 0: %lu, Normal: %u | 1: %lu, Normal: %u | 2: %lu, Normal: %u | 3: %lu, Normal: %u | 4: %lu, Normal: %u | 5: %lu, Normal: %u\n",
			 mapRCtoMotor(display_channels[0]), display_channels[0],
			 mapRCtoMotor(display_channels[1]), display_channels[1],
			 mapRCtoMotor(display_channels[2]), display_channels[2],
			 mapRCtoMotor(display_channels[3]), display_channels[3],
			 mapRCtoMotor(display_channels[4]), display_channels[4],
			 mapRCtoMotor(display_channels[5]), display_channels[5]);
			 */

			if (display_channels[4] > 1900) {
				arm_flag = 1;
				disarm_flag = 0;
			} else if (display_channels[4]< 1900) {
				arm_flag = 0;
				disarm_flag = 1;
			}
			osDelay(1);
		}
  /* USER CODE END arm_disarm */
}

void HAL_TIM_PeriodElapsedCallback(TIM_HandleTypeDef *htim)
{
  if (htim->Instance == TIM14) {
    HAL_IncTick();
  }
}

void Error_Handler(void)
{
		__disable_irq();
		while (1) {
		}
}
